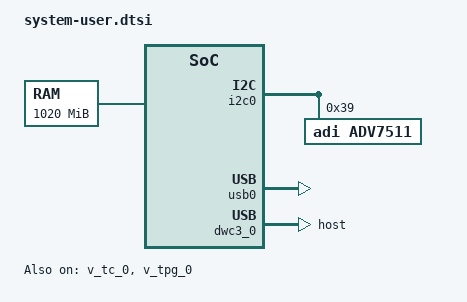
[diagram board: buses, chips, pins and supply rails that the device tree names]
/include/ "system-conf.dtsi"
/ {
chosen{
 bootargs = "earlycon clk_ignore_unused console=ttyPS0,115200 earlyprintk root=/dev/mmcblk1p2 rw rootwait";
 };


   memory {    // Reduce memory for framebuffers
        device_type = "memory";
        reg = <0x0 0x0 0x0 0x3FC00000>;  // Reduce memory for 1GB assembly variant
    };


    framebuffer0: framebuffer@0x3FC00000 {      // HDMI out
        compatible = "simple-framebuffer";
        reg = <0x0 0x3FC00000 0x0 (1280 * 720 * 4)>;    // 720p
        width = <1280>;                         // 720p
        height = <720>;                         // 720p
        stride = <(1280 * 4)>;                  // 720p
        format = "a8b8g8r8";
    };
};

&axi_vdma_0 {
   status = "okay";
};

&v_tc_0 {
    //xilinx-vtc: probe of 43c20000.v_tc failed with error -2
    clock-names = "s_axi_aclk";
    clocks = <0x34>;
    status = "okay";
};

&v_tpg_0 {
    clock-names = "fclk1";
    clocks = <0x48>;
    status = "okay";
};

&sdhci1 {
 disable-wp;
 no-1-8-v;
};

&smmu {
  status ="okay";
};

&fclk0 {
  status = "okay";
};

&fclk1 {
  status = "okay";
};


&i2c0 {
 status = "okay";
 adv7511@39 {
  compatible = "adi,adv7511"; 
  reg = <0x39>;

 adi,input-depth = <8>;
 adi,input-colorspace = "yuv422";
 adi,input-clock = "1x";
 adi,input-style = <1>;
 adi,input-justification = "evenly";

};
};

&usb0 {
  status = "okay";
};

&dwc3_0 {
    status = "okay";
    dr_mode = "host";
};

